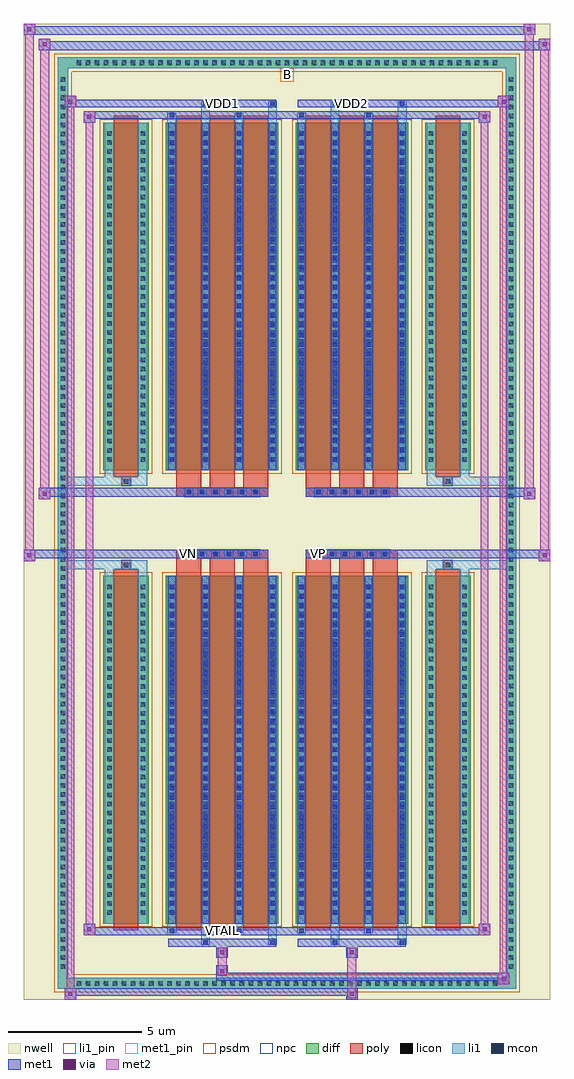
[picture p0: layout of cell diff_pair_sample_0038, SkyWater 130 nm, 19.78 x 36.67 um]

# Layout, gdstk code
import gdstk
lib = gdstk.Library(unit=1e-6, precision=5e-09)
def R(c, l, rs):  # rectangles x0, y0, x1, y1
    for r in rs: c.add(gdstk.rectangle(r[:2], r[2:], *l))
def A(c, l, x, y, w, h, nx, ny, dx, dy):  # array of equal rectangles
    R(c, l, [(x+i*dx, y+j*dy, x+i*dx+w, y+j*dy+h) for i in range(nx) for j in range(ny)])
def P(c, l, *ps):  # polygons
    for p in ps: c.add(gdstk.Polygon(p, *l))
nwell = (64, 20)
diff = (65, 20)
poly = (66, 20)
licon = (66, 44)
li1_pin = (67, 16)
li1 = (67, 20)
mcon = (67, 44)
met1_pin = (68, 16)
met1 = (68, 20)
via = (68, 44)
met2 = (69, 20)
psdm = (94, 20)
npc = (95, 20)

diff_pair_sample_0038 = lib.new_cell('diff_pair_sample_0038')
R(diff_pair_sample_0038, nwell, [(-9.89,-17.9,9.89,18.77), (-7.21,-16.09,-0.01,-0.795), (0.01,-16.09,7.21,-0.795), (-7.21,0.795,-0.01,16.09), (0.01,0.795,7.21,16.09)])
A(diff_pair_sample_0038, diff, -8.025, -17.5, 0.41, 0.41, 47, 2, 0.34, 34.59)
A(diff_pair_sample_0038, diff, -8.62, -16.865, 0.41, 0.41, 1, 99, 0, 0.34)
A(diff_pair_sample_0038, diff, 8.21, -16.865, 0.41, 0.41, 1, 99, 0, 0.34)
R(diff_pair_sample_0038, diff, [(-8.025,-17.5,8.025,-17.09), (-8.62,-16.865,-8.21,16.865), (8.21,-16.865,8.62,16.865), (-6.9,-15.045,-5.19,-1.985), (-4.55,-15.045,-0.32,-1.985), (0.32,-15.045,4.55,-1.985), (5.19,-15.045,6.9,-1.985), (-6.9,1.985,-5.19,15.045), (-4.55,1.985,-0.32,15.045), (0.32,1.985,4.55,15.045), (5.19,1.985,6.9,15.045), (-8.025,17.09,8.025,17.5)])
P(diff_pair_sample_0038, diff, [(8.62,17.5),(-8.62,17.5),(-8.62,-17.09),(-8.21,-17.09),(-8.21,17.09),(8.21,17.09),(8.21,-17.09),(-8.21,-17.09),(-8.62,-17.09),(-8.62,-17.5),(8.62,-17.5)])
A(diff_pair_sample_0038, poly, -4.16, -15.295, 0.93, 13.56, 3, 2, 1.26, 17.03)
A(diff_pair_sample_0038, poly, 0.71, -15.295, 0.93, 13.56, 3, 2, 1.26, 17.03)
A(diff_pair_sample_0038, poly, -4.16, -1.735, 0.93, 0.41, 3, 2, 1.26, 3.06)
A(diff_pair_sample_0038, poly, 0.71, -1.735, 0.93, 0.41, 3, 2, 1.26, 3.06)
A(diff_pair_sample_0038, poly, -3.85, -1.325, 0.33, 0.33, 6, 2, 0.5, 2.32)
A(diff_pair_sample_0038, poly, 1.02, -1.325, 0.33, 0.33, 6, 2, 0.5, 2.32)
R(diff_pair_sample_0038, poly, [(-6.51,-15.295,-5.58,-1.735), (5.58,-15.295,6.51,-1.735), (-6.21,-1.735,-5.88,-1.405), (-6.21,-1.735,-5.88,-1.405), (5.88,-1.735,6.21,-1.405), (5.88,-1.735,6.21,-1.405), (-4.16,-1.325,-0.71,-0.995), (0.71,-1.325,4.16,-0.995), (-4.16,0.995,-0.71,1.325), (0.71,0.995,4.16,1.325), (-6.21,1.405,-5.88,1.735), (-6.21,1.405,-5.88,1.735), (5.88,1.405,6.21,1.735), (5.88,1.405,6.21,1.735), (-6.51,1.735,-5.58,15.295), (5.58,1.735,6.51,15.295)])
A(diff_pair_sample_0038, licon, -7.905, -17.38, 0.17, 0.17, 47, 2, 0.34, 34.59)
A(diff_pair_sample_0038, licon, -8.5, -16.745, 0.17, 0.17, 1, 99, 0, 0.34)
A(diff_pair_sample_0038, licon, 8.33, -16.745, 0.17, 0.17, 1, 99, 0, 0.34)
A(diff_pair_sample_0038, licon, -6.76, -14.72, 0.17, 0.17, 1, 37, 0, 0.34)
A(diff_pair_sample_0038, licon, -5.5, -14.72, 0.17, 0.17, 1, 37, 0, 0.34)
A(diff_pair_sample_0038, licon, -4.41, -14.72, 0.17, 0.17, 4, 37, 1.26, 0.34)
A(diff_pair_sample_0038, licon, 0.46, -14.72, 0.17, 0.17, 4, 37, 1.26, 0.34)
A(diff_pair_sample_0038, licon, 5.33, -14.72, 0.17, 0.17, 1, 37, 0, 0.34)
A(diff_pair_sample_0038, licon, 6.59, -14.72, 0.17, 0.17, 1, 37, 0, 0.34)
A(diff_pair_sample_0038, licon, -3.77, -1.245, 0.17, 0.17, 6, 2, 0.5, 2.32)
A(diff_pair_sample_0038, licon, 1.1, -1.245, 0.17, 0.17, 6, 2, 0.5, 2.32)
A(diff_pair_sample_0038, licon, -6.76, 2.31, 0.17, 0.17, 1, 37, 0, 0.34)
A(diff_pair_sample_0038, licon, -5.5, 2.31, 0.17, 0.17, 1, 37, 0, 0.34)
A(diff_pair_sample_0038, licon, -4.41, 2.31, 0.17, 0.17, 4, 37, 1.26, 0.34)
A(diff_pair_sample_0038, licon, 0.46, 2.31, 0.17, 0.17, 4, 37, 1.26, 0.34)
A(diff_pair_sample_0038, licon, 5.33, 2.31, 0.17, 0.17, 1, 37, 0, 0.34)
A(diff_pair_sample_0038, licon, 6.59, 2.31, 0.17, 0.17, 1, 37, 0, 0.34)
R(diff_pair_sample_0038, licon, [(-6.13,-1.655,-5.96,-1.485), (5.96,-1.655,6.13,-1.485), (-6.13,1.485,-5.96,1.655), (5.96,1.485,6.13,1.655)])
R(diff_pair_sample_0038, li1_pin, [(-0.25,16.59,0.25,17.09)])
A(diff_pair_sample_0038, li1, -7.985, -17.46, 0.33, 0.33, 47, 2, 0.34, 34.59)
A(diff_pair_sample_0038, li1, -8.58, -16.825, 0.33, 0.33, 1, 99, 0, 0.34)
A(diff_pair_sample_0038, li1, 8.25, -16.825, 0.33, 0.33, 1, 99, 0, 0.34)
A(diff_pair_sample_0038, li1, -4.49, -15.045, 0.33, 13.06, 4, 2, 1.26, 17.03)
A(diff_pair_sample_0038, li1, 0.38, -15.045, 0.33, 13.06, 4, 2, 1.26, 17.03)
A(diff_pair_sample_0038, li1, -6.84, -14.8, 0.33, 0.33, 1, 37, 0, 0.34)
A(diff_pair_sample_0038, li1, -5.58, -14.8, 0.33, 0.33, 1, 37, 0, 0.34)
A(diff_pair_sample_0038, li1, -4.49, -14.8, 0.33, 0.33, 4, 37, 1.26, 0.34)
A(diff_pair_sample_0038, li1, 0.38, -14.8, 0.33, 0.33, 4, 37, 1.26, 0.34)
A(diff_pair_sample_0038, li1, 5.25, -14.8, 0.33, 0.33, 1, 37, 0, 0.34)
A(diff_pair_sample_0038, li1, 6.51, -14.8, 0.33, 0.33, 1, 37, 0, 0.34)
A(diff_pair_sample_0038, li1, -4.41, -14.72, 0.17, 0.17, 4, 35, 1.26, 0.36)
A(diff_pair_sample_0038, li1, -4.41, -14.72, 0.17, 12.41, 4, 2, 1.26, 17.03)
A(diff_pair_sample_0038, li1, 0.46, -14.72, 0.17, 0.17, 4, 35, 1.26, 0.36)
A(diff_pair_sample_0038, li1, 0.46, -14.72, 0.17, 12.41, 4, 2, 1.26, 17.03)
A(diff_pair_sample_0038, li1, -3.85, -1.325, 0.33, 0.33, 6, 2, 0.5, 2.32)
A(diff_pair_sample_0038, li1, 1.02, -1.325, 0.33, 0.33, 6, 2, 0.5, 2.32)
A(diff_pair_sample_0038, li1, -6.84, 2.23, 0.33, 0.33, 1, 37, 0, 0.34)
A(diff_pair_sample_0038, li1, -5.58, 2.23, 0.33, 0.33, 1, 37, 0, 0.34)
A(diff_pair_sample_0038, li1, -4.49, 2.23, 0.33, 0.33, 4, 37, 1.26, 0.34)
A(diff_pair_sample_0038, li1, 0.38, 2.23, 0.33, 0.33, 4, 37, 1.26, 0.34)
A(diff_pair_sample_0038, li1, 5.25, 2.23, 0.33, 0.33, 1, 37, 0, 0.34)
A(diff_pair_sample_0038, li1, 6.51, 2.23, 0.33, 0.33, 1, 37, 0, 0.34)
A(diff_pair_sample_0038, li1, -4.41, 2.31, 0.17, 0.17, 4, 35, 1.26, 0.36)
A(diff_pair_sample_0038, li1, 0.46, 2.31, 0.17, 0.17, 4, 35, 1.26, 0.36)
R(diff_pair_sample_0038, li1, [(-8.62,-17.5,-8.21,-17.09), (-8.62,-17.5,-8.21,-17.09), (-8.21,-17.5,8.21,-17.09), (8.21,-17.5,8.62,-17.09), (8.21,-17.5,8.62,-17.09), (-8.62,-17.09,-8.21,17.09), (8.21,-17.09,8.62,17.09), (-3.23,-15.85,-2.9,-15.045), (-3.15,-15.85,-2.98,-15.68), (-0.71,-15.85,-0.38,-15.045), (-0.63,-15.85,-0.46,-15.68), (1.64,-15.85,1.97,-15.045), (1.72,-15.85,1.89,-15.68), (4.16,-15.85,4.49,-15.045), (4.24,-15.85,4.41,-15.68), (-4.49,-15.42,-4.16,-15.045), (-4.41,-15.42,-4.24,-15.25), (-1.97,-15.42,-1.64,-15.045), (-1.89,-15.42,-1.72,-15.25), (0.38,-15.42,0.71,-15.045), (0.46,-15.42,0.63,-15.25), (2.9,-15.42,3.23,-15.045), (2.98,-15.42,3.15,-15.25), (-6.84,-15.045,-6.51,-1.985), (-5.58,-15.045,-5.25,-1.985), (5.25,-15.045,5.58,-1.985), (6.51,-15.045,6.84,-1.985), (-6.84,-1.985,-6.51,-1.405), (-5.58,-1.985,-5.25,-1.405), (5.25,-1.985,5.58,-1.405), (6.51,-1.985,6.84,-1.405), (-8.62,-1.735,-6.21,-1.405), (-6.84,-1.735,-6.21,-1.405), (-6.21,-1.735,-5.88,-1.405), (-5.88,-1.735,-5.25,-1.405), (5.25,-1.735,5.88,-1.405), (5.88,-1.735,6.21,-1.405), (5.88,-1.735,8.62,-1.405), (6.21,-1.735,6.84,-1.405), (-8.62,1.405,-6.21,1.735), (-6.84,1.405,-6.21,1.735), (-6.84,1.405,-6.51,1.985), (-6.21,1.405,-5.88,1.735), (-5.88,1.405,-5.25,1.735), (-5.58,1.405,-5.25,1.985), (5.25,1.405,5.88,1.735), (5.25,1.405,5.58,1.985), (5.88,1.405,6.21,1.735), (5.88,1.405,8.62,1.735), (6.21,1.405,6.84,1.735), (6.51,1.405,6.84,1.985), (-6.84,1.985,-6.51,15.045), (-5.58,1.985,-5.25,15.045), (5.25,1.985,5.58,15.045), (6.51,1.985,6.84,15.045), (-4.49,15.045,-4.16,15.42), (-3.23,15.045,-2.9,15.85), (-1.97,15.045,-1.64,15.42), (-0.71,15.045,-0.38,15.85), (0.38,15.045,0.71,15.42), (1.64,15.045,1.97,15.85), (2.9,15.045,3.23,15.42), (4.16,15.045,4.49,15.85), (-4.41,15.25,-4.24,15.42), (-1.89,15.25,-1.72,15.42), (0.46,15.25,0.63,15.42), (2.98,15.25,3.15,15.42), (-3.15,15.68,-2.98,15.85), (-0.63,15.68,-0.46,15.85), (1.72,15.68,1.89,15.85), (4.24,15.68,4.41,15.85), (-8.62,17.09,-8.21,17.5), (-8.62,17.09,-8.21,17.5), (-8.21,17.09,8.21,17.5), (8.21,17.09,8.62,17.5), (8.21,17.09,8.62,17.5)])
A(diff_pair_sample_0038, mcon, -4.41, -14.72, 0.17, 0.17, 4, 35, 1.26, 0.36)
A(diff_pair_sample_0038, mcon, 0.46, -14.72, 0.17, 0.17, 4, 35, 1.26, 0.36)
A(diff_pair_sample_0038, mcon, -3.77, -1.245, 0.17, 0.17, 6, 2, 0.5, 2.32)
A(diff_pair_sample_0038, mcon, 1.1, -1.245, 0.17, 0.17, 6, 2, 0.5, 2.32)
A(diff_pair_sample_0038, mcon, -4.41, 2.31, 0.17, 0.17, 4, 35, 1.26, 0.36)
A(diff_pair_sample_0038, mcon, 0.46, 2.31, 0.17, 0.17, 4, 35, 1.26, 0.36)
R(diff_pair_sample_0038, mcon, [(-3.15,-15.85,-2.98,-15.68), (-0.63,-15.85,-0.46,-15.68), (1.72,-15.85,1.89,-15.68), (4.24,-15.85,4.41,-15.68), (-4.41,-15.42,-4.24,-15.25), (-1.89,-15.42,-1.72,-15.25), (0.46,-15.42,0.63,-15.25), (2.98,-15.42,3.15,-15.25), (-4.41,15.25,-4.24,15.42), (-1.89,15.25,-1.72,15.42), (0.46,15.25,0.63,15.42), (2.98,15.25,3.15,15.42), (-3.15,15.68,-2.98,15.85), (-0.63,15.68,-0.46,15.85), (1.72,15.68,1.89,15.85), (4.24,15.68,4.41,15.85)])
R(diff_pair_sample_0038, met1_pin, [(-2.57,-15.46,-2.3,-15.19), (-3.82,-1.285,-3.55,-1.015), (1.05,-1.285,1.32,-1.015), (-2.57,15.64,-2.3,15.91), (2.3,15.64,2.57,15.91)])
A(diff_pair_sample_0038, met1, -4.47, -15.045, 0.29, 13.06, 4, 2, 1.26, 17.03)
A(diff_pair_sample_0038, met1, 0.4, -15.045, 0.29, 13.06, 4, 2, 1.26, 17.03)
A(diff_pair_sample_0038, met1, -4.47, -14.78, 0.29, 0.29, 4, 35, 1.26, 0.36)
A(diff_pair_sample_0038, met1, 0.4, -14.78, 0.29, 0.29, 4, 35, 1.26, 0.36)
A(diff_pair_sample_0038, met1, -3.83, -1.305, 0.29, 0.29, 6, 2, 0.5, 2.32)
A(diff_pair_sample_0038, met1, 1.04, -1.305, 0.29, 0.29, 6, 2, 0.5, 2.32)
A(diff_pair_sample_0038, met1, -4.47, 2.25, 0.29, 0.29, 4, 35, 1.26, 0.36)
A(diff_pair_sample_0038, met1, 0.4, 2.25, 0.29, 0.29, 4, 35, 1.26, 0.36)
R(diff_pair_sample_0038, met1, [(-8.35,-17.9,-7.92,-17.47), (2.22,-17.9,2.65,-17.47), (-8.35,-17.76,2.65,-17.47), (7.92,-17.33,8.35,-16.9), (-2.65,-17.19,8.35,-16.9), (-2.65,-17.05,-2.22,-16.62), (-2.65,-16.34,-2.22,-15.91), (2.22,-16.34,2.65,-15.91), (-4.47,-15.91,-0.4,-15.62), (-3.21,-15.91,-2.92,-15.62), (-0.69,-15.91,-0.4,-15.62), (0.4,-15.91,4.47,-15.62), (1.66,-15.91,1.95,-15.62), (4.18,-15.91,4.47,-15.62), (-7.64,-15.48,-7.21,-15.05), (-7.64,-15.48,-4.47,-15.19), (-4.47,-15.48,-4.18,-15.19), (-4.47,-15.48,-0.4,-15.19), (-1.95,-15.48,-1.66,-15.19), (-0.4,-15.48,0.4,-15.19), (0.4,-15.48,0.69,-15.19), (0.4,-15.48,4.47,-15.19), (2.92,-15.48,3.21,-15.19), (4.47,-15.48,7.64,-15.19), (7.21,-15.48,7.64,-15.05), (-9.89,-1.425,-9.46,-0.995), (9.46,-1.425,9.89,-0.995), (-9.89,-1.325,-0.71,-0.995), (-4.16,-1.325,-0.71,-0.995), (0.71,-1.325,4.16,-0.995), (0.71,-1.325,9.89,-0.995), (-9.32,0.895,-8.89,1.325), (8.89,0.895,9.32,1.325), (-9.32,0.995,-4.16,1.325), (-4.16,0.995,-0.71,1.325), (0.71,0.995,4.16,1.325), (4.16,0.995,9.32,1.325), (-7.64,15.05,-7.21,15.48), (7.21,15.05,7.64,15.48), (-7.64,15.19,-4.47,15.48), (-4.47,15.19,-4.18,15.48), (-4.47,15.19,-0.4,15.48), (-1.95,15.19,-1.66,15.48), (-0.4,15.19,0.4,15.48), (0.4,15.19,0.69,15.48), (0.4,15.19,4.47,15.48), (2.92,15.19,3.21,15.48), (4.47,15.19,7.64,15.48), (-8.35,15.62,-7.92,16.05), (-8.35,15.62,-4.47,15.91), (-4.47,15.62,-0.4,15.91), (-3.21,15.62,-2.92,15.91), (-0.69,15.62,-0.4,15.91), (0.4,15.62,4.47,15.91), (1.66,15.62,1.95,15.91), (4.18,15.62,4.47,15.91), (4.47,15.62,8.35,15.91), (7.92,15.62,8.35,16.05), (-9.32,17.77,-8.89,18.2), (-9.32,17.77,-7.21,18.1), (-7.21,17.77,7.21,18.1), (7.21,17.77,9.89,18.1), (9.46,17.77,9.89,18.2), (-9.89,18.34,-9.46,18.77), (-9.89,18.34,-7.21,18.67), (-7.21,18.34,7.21,18.67), (7.21,18.34,9.32,18.67), (8.89,18.34,9.32,18.77)])
R(diff_pair_sample_0038, via, [(-8.21,-17.76,-8.06,-17.61), (2.36,-17.76,2.51,-17.61), (8.06,-17.19,8.21,-17.04), (-2.51,-16.91,-2.36,-16.76), (-2.51,-16.2,-2.36,-16.05), (2.36,-16.2,2.51,-16.05), (-7.5,-15.34,-7.35,-15.19), (7.35,-15.34,7.5,-15.19), (-9.75,-1.285,-9.6,-1.135), (9.6,-1.285,9.75,-1.135), (-9.18,1.035,-9.03,1.185), (9.03,1.035,9.18,1.185), (-7.5,15.19,-7.35,15.34), (7.35,15.19,7.5,15.34), (-8.21,15.76,-8.06,15.91), (8.06,15.76,8.21,15.91), (-9.18,17.91,-9.03,18.06), (9.6,17.91,9.75,18.06), (-9.75,18.48,-9.6,18.63), (9.03,18.48,9.18,18.63)])
R(diff_pair_sample_0038, met2, [(-8.35,-17.9,-7.92,-17.47), (-8.28,-17.9,-7.99,16.05), (-7.99,-17.9,-7.92,-17.47), (-8.3,-17.85,-7.97,-17.52), (2.27,-17.85,2.6,-17.52), (2.27,-17.52,2.6,-16.29), (7.92,-17.33,8.35,-16.9), (7.99,-17.33,8.28,16.05), (8.28,-17.33,8.35,-16.9), (7.97,-17.28,8.3,-16.95), (-2.6,-17,-2.27,-16.67), (-2.6,-16.67,-2.27,-16.29), (-2.6,-16.29,-2.27,-15.96), (2.27,-16.29,2.6,-15.96), (-7.64,-15.48,-7.21,-15.05), (-7.57,-15.48,-7.28,15.48), (-7.28,-15.48,-7.21,-15.05), (7.21,-15.48,7.64,-15.05), (7.28,-15.48,7.57,15.48), (7.57,-15.48,7.64,-15.05), (-7.59,-15.43,-7.26,-15.1), (7.26,-15.43,7.59,-15.1), (-9.89,-1.425,-9.46,-0.995), (-9.84,-1.425,-9.51,18.77), (-9.51,-1.425,-9.46,-0.995), (9.46,-1.425,9.89,-0.995), (9.51,-1.425,9.84,18.2), (9.84,-1.425,9.89,-0.995), (-9.84,-1.375,-9.51,-1.045), (9.51,-1.375,9.84,-1.045), (-9.32,0.895,-8.89,1.325), (-9.27,0.895,-8.94,18.2), (-8.94,0.895,-8.89,1.325), (8.89,0.895,9.32,1.325), (8.94,0.895,9.27,18.77), (9.27,0.895,9.32,1.325), (-9.27,0.945,-8.94,1.275), (8.94,0.945,9.27,1.275), (-7.64,15.05,-7.21,15.48), (-7.28,15.05,-7.21,15.48), (7.21,15.05,7.64,15.48), (7.57,15.05,7.64,15.48), (-7.59,15.1,-7.26,15.43), (7.26,15.1,7.59,15.43), (-8.35,15.62,-7.92,16.05), (-7.99,15.62,-7.92,16.05), (7.92,15.62,8.35,16.05), (8.28,15.62,8.35,16.05), (-8.3,15.67,-7.97,16), (7.97,15.67,8.3,16), (-9.32,17.77,-8.89,18.2), (-8.94,17.77,-8.89,18.2), (9.46,17.77,9.89,18.2), (9.84,17.77,9.89,18.2), (-9.27,17.82,-8.94,18.15), (9.51,17.82,9.84,18.15), (-9.89,18.34,-9.46,18.77), (-9.51,18.34,-9.46,18.77), (8.89,18.34,9.32,18.77), (9.27,18.34,9.32,18.77), (-9.84,18.39,-9.51,18.72), (8.94,18.39,9.27,18.72)])
R(diff_pair_sample_0038, psdm, [(-7.03,-15.175,-5.06,-1.855), (-4.68,-15.175,-0.19,-1.855), (0.19,-15.175,4.68,-1.855), (5.06,-15.175,7.03,-1.855), (-7.03,1.855,-5.06,15.175), (-4.68,1.855,-0.19,15.175), (0.19,1.855,4.68,15.175), (5.06,1.855,7.03,15.175)])
P(diff_pair_sample_0038, psdm, [(8.75,17.63),(-8.75,17.63),(-8.75,-16.96),(-8.08,-16.96),(-8.08,16.96),(8.08,16.96),(8.08,-16.96),(-8.08,-16.96),(-8.75,-16.96),(-8.75,-17.63),(8.75,-17.63)])
A(diff_pair_sample_0038, npc, -3.87, -1.345, 0.37, 0.37, 6, 2, 0.5, 2.32)
A(diff_pair_sample_0038, npc, 1, -1.345, 0.37, 0.37, 6, 2, 0.5, 2.32)
R(diff_pair_sample_0038, npc, [(-6.23,-1.755,-5.86,-1.385), (5.86,-1.755,6.23,-1.385), (-3.87,-1.345,-3,-0.975), (-3.87,-1.345,-3,-0.975), (-3.37,-1.345,-2.5,-0.975), (-3.37,-1.345,-2.5,-0.975), (-2.87,-1.345,-2,-0.975), (-2.87,-1.345,-2,-0.975), (-2.37,-1.345,-1.5,-0.975), (-2.37,-1.345,-1.5,-0.975), (-1.87,-1.345,-1,-0.975), (-1.87,-1.345,-1,-0.975), (1,-1.345,1.87,-0.975), (1,-1.345,1.87,-0.975), (1.5,-1.345,2.37,-0.975), (1.5,-1.345,2.37,-0.975), (2,-1.345,2.87,-0.975), (2,-1.345,2.87,-0.975), (2.5,-1.345,3.37,-0.975), (2.5,-1.345,3.37,-0.975), (3,-1.345,3.87,-0.975), (3,-1.345,3.87,-0.975), (-3.87,0.975,-3,1.345), (-3.87,0.975,-3,1.345), (-3.37,0.975,-2.5,1.345), (-3.37,0.975,-2.5,1.345), (-2.87,0.975,-2,1.345), (-2.87,0.975,-2,1.345), (-2.37,0.975,-1.5,1.345), (-2.37,0.975,-1.5,1.345), (-1.87,0.975,-1,1.345), (-1.87,0.975,-1,1.345), (1,0.975,1.87,1.345), (1,0.975,1.87,1.345), (1.5,0.975,2.37,1.345), (1.5,0.975,2.37,1.345), (2,0.975,2.87,1.345), (2,0.975,2.87,1.345), (2.5,0.975,3.37,1.345), (2.5,0.975,3.37,1.345), (3,0.975,3.87,1.345), (3,0.975,3.87,1.345), (-6.23,1.385,-5.86,1.755), (5.86,1.385,6.23,1.755)])
diff_pair_sample_0038.add(gdstk.Label('VTAIL', (-2.435,-15.325), layer=68, texttype=5))
diff_pair_sample_0038.add(gdstk.Label('VN', (-3.685,-1.15), layer=68, texttype=5))
diff_pair_sample_0038.add(gdstk.Label('VP', (1.185,-1.15), layer=68, texttype=5))
diff_pair_sample_0038.add(gdstk.Label('B', (0,16.84), layer=67, texttype=5))
diff_pair_sample_0038.add(gdstk.Label('VDD2', (2.435,15.775), layer=68, texttype=5))
diff_pair_sample_0038.add(gdstk.Label('VDD1', (-2.435,15.775), layer=68, texttype=5))

lib.write_gds('diff_pair_sample_0038.gds')
